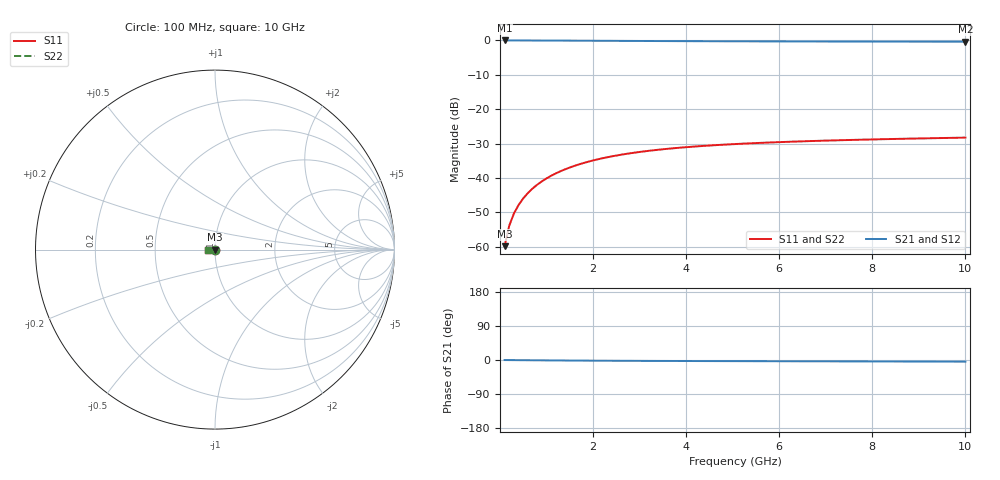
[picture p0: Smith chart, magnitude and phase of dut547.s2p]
! Touchstone file exported from HFSS 2024.1.0
!  File:  C:/UserFiles/LocalFiles/RDL_TSV_Batchsim/temp_TSV1_547_1779705887.aedt
!  Generated:  06:50:45 PM May 25, 2026
!  Design:  TSV1
!  Project:  temp_TSV1_547_1779705887
!  Setup:  Setup1
!  Solution:  Sweep
! Variables:
!  dtsv = 9.87um
!  hbump = 3um
!  htsv = 66.45um
!  lrdl = 252.1521522um
!  p = 40
!  p1 = 47.42um
!  t = 500um
!  trdl = 3um
!  wrdl = 24.89489489um
# GHz S MA R 50.000000
! Terminal data exported
! Port[1] = TSV22_T1
! Port[2] = TSV22_T2
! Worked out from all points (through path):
!   100 points, 100 MHz to 10 GHz, reference 50 ohm
!   highest |S21| = 0.00 dB at 100 MHz (marker M1); lowest = -0.4 dB at 10 GHz (marker M2)
!   lowest |S11| = -59.8 dB at 100 MHz (marker M3), VSWR 1.00, Z = 50 - j0.101 ohm
!   |S11| at or under -10 dB: start of sweep to end of sweep
!   |S22| runs from -59.8 to -28.3 dB; largest |S21 - S12| = 2e-14
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0.1  0.001018 -84.2  0.9998 -0.1  0.9998 -0.1  0.001018 -84.2
! Gamma 0 0 0 0
! Port Impedance 50 0 50 0
0.2  0.002026 -89.5  0.9997 -0.2  0.9997 -0.2  0.002026 -89.5
0.3  0.003037 -92.4  0.9996 -0.3  0.9996 -0.3  0.003037 -92.4
0.4  0.004045 -94.8  0.9993 -0.4  0.9993 -0.4  0.004045 -94.8
0.5  0.005046 -96.9  0.999 -0.5  0.999 -0.5  0.005046 -96.9
0.6  0.006036 -98.9  0.9987 -0.6  0.9987 -0.6  0.006036 -98.9
0.7  0.007013 -100.9  0.9983 -0.7  0.9983 -0.7  0.007013 -100.9
0.8  0.007976 -102.7  0.9979 -0.8  0.9979 -0.8  0.007976 -102.7
0.9  0.008922 -104.5  0.9974 -0.9  0.9974 -0.9  0.008922 -104.5
1.1  0.01076 -108.0  0.9963 -1.1  0.9963 -1.1  0.01076 -108.0
1.4  0.01337 -113.0  0.9944 -1.3  0.9944 -1.3  0.01337 -113.0
1.6  0.01499 -116.1  0.993 -1.5  0.993 -1.5  0.01499 -116.1
1.8  0.01653 -119.1  0.9915 -1.6  0.9915 -1.6  0.01653 -119.1
2.1  0.01866 -123.4  0.9893 -1.8  0.9893 -1.8  0.01866 -123.4
2.5  0.02118 -128.7  0.9863 -2.0  0.9863 -2.0  0.02118 -128.7
2.9  0.02338 -133.6  0.9835 -2.2  0.9835 -2.2  0.02338 -133.6
3.4  0.02572 -139.0  0.9802 -2.5  0.9802 -2.5  0.02572 -139.0
4.2  0.0287 -146.6  0.9756 -2.7  0.9756 -2.7  0.0287 -146.6
5.1  0.03124 -153.8  0.9714 -3.0  0.9714 -3.0  0.03124 -153.8
6.7  0.03444 -164.2  0.966 -3.5  0.966 -3.5  0.03444 -164.2
8.4  0.03683 -172.9  0.9622 -3.9  0.9622 -3.9  0.03683 -172.9
10  0.0386 -179.7  0.9598 -4.4  0.9598 -4.4  0.0386 -179.7
